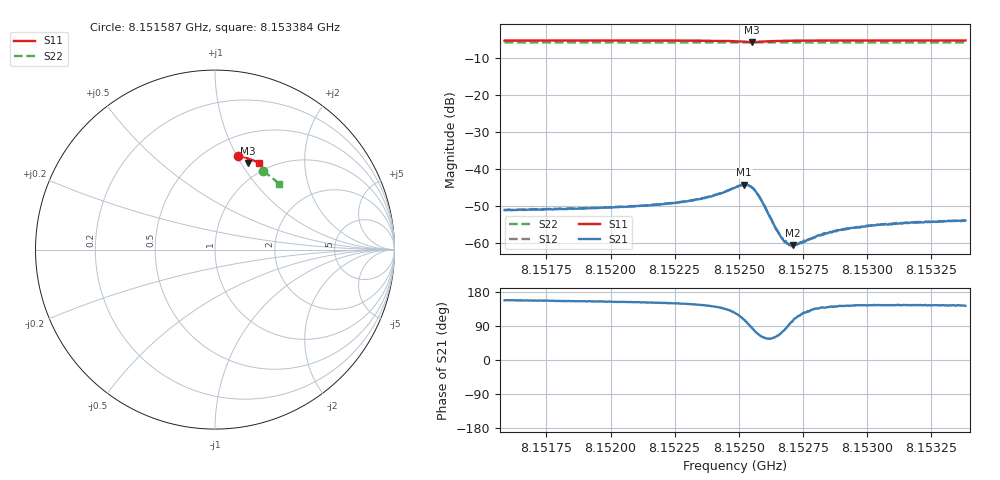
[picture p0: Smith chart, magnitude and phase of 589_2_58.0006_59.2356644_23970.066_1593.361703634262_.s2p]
#  HZ  S  RI  R  50.00
! Rohde & Schwarz Vector Network Analyzer
! Rohde-Schwarz,ZNB20-2Port,1311601062101988,3.16
! Created: UTC 3/21/2024, 1:16:45 AM
! freq[Hz]  re:S11  im:S11  re:S21  im:S21  re:S12  im:S12  re:S22  im:S22
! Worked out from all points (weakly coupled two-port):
!   401 points, 8.151587 GHz to 8.153384 GHz, reference 50 ohm
!   highest |S21| = -44.25 dB at 8.152521 GHz (marker M1); lowest = -60.6 dB at 8.15271 GHz (marker M2)
!   lowest |S11| = -5.7 dB at 8.152553 GHz (marker M3), VSWR 3.13, Z = 40.8 + j53.6 ohm
!   |S11| at or under -10 dB: nowhere
!   |S22| runs from -5.8 to -5.8 dB; largest |S21 - S12| = 0.00013
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8.1515871e9  0.1299 0.5241  -0.00258 0.00107  -0.00258 0.00107  0.2651 0.4386
8.151888e9  0.151 0.5189  -0.00266 0.00121  -0.00266 0.0013  0.2811 0.4279
8.152189e9  0.1725 0.5121  -0.00288 0.00161  -0.00289 0.00165  0.2967 0.4166
8.1523597e9  0.1863 0.5059  -0.00328 0.0023  -0.00328 0.00241  0.3057 0.41
8.1524315e9  0.1929 0.5004  -0.00346 0.00318  -0.00345 0.00324  0.3091 0.4069
8.1524854e9  0.1963 0.492  -0.00315 0.00463  -0.00312 0.00473  0.3118 0.4046
8.1525214e9  0.1929 0.4839  -0.0017 0.00589  -0.00165 0.00591  0.3131 0.4031
8.1525393e9  0.1878 0.4819  -0.00037 0.00598  -0.000312 0.00601  0.3138 0.4024
8.1525528e9  0.1835 0.4826  0.000622 0.00555  0.000679 0.00559  0.3143 0.402
8.1525663e9  0.18 0.4853  0.00138 0.00477  0.00144 0.00481  0.3147 0.4015
8.1525843e9  0.1782 0.4903  0.00174 0.00359  0.00184 0.00358  0.3158 0.4011
8.1526427e9  0.1844 0.5002  0.000805 0.00141  0.000831 0.00138  0.3189 0.399
8.1526651e9  0.1876 0.5014  0.000398 0.00113  0.000427 0.00117  0.3201 0.3982
8.1526876e9  0.1906 0.502  6.81e-05 0.000982  8.57e-05 0.00099  0.3212 0.3973
8.15271e9  0.1933 0.5021  -0.00019 0.000912  -0.000193 0.000955  0.3224 0.3962
8.152728e9  0.1952 0.502  -0.00039 0.000867  -0.000396 0.000899  0.3234 0.3955
8.1527864e9  0.201 0.5012  -0.000773 0.000859  -0.000772 0.000868  0.3262 0.3932
8.1528403e9  0.2055 0.4999  -0.00101 0.000885  -0.00103 0.000907  0.3287 0.391
8.1529301e9  0.2126 0.4978  -0.00125 0.000955  -0.00126 0.000953  0.3331 0.3871
8.1530873e9  0.2238 0.4935  -0.00145 0.00104  -0.00149 0.00106  0.3406 0.3803
8.1533074e9  0.2384 0.4871  -0.0016 0.00114  -0.00162 0.00121  0.3506 0.3707
8.1533838e9  0.2433 0.4849  -0.00161 0.00121  -0.0016 0.00117  0.3541 0.3671
